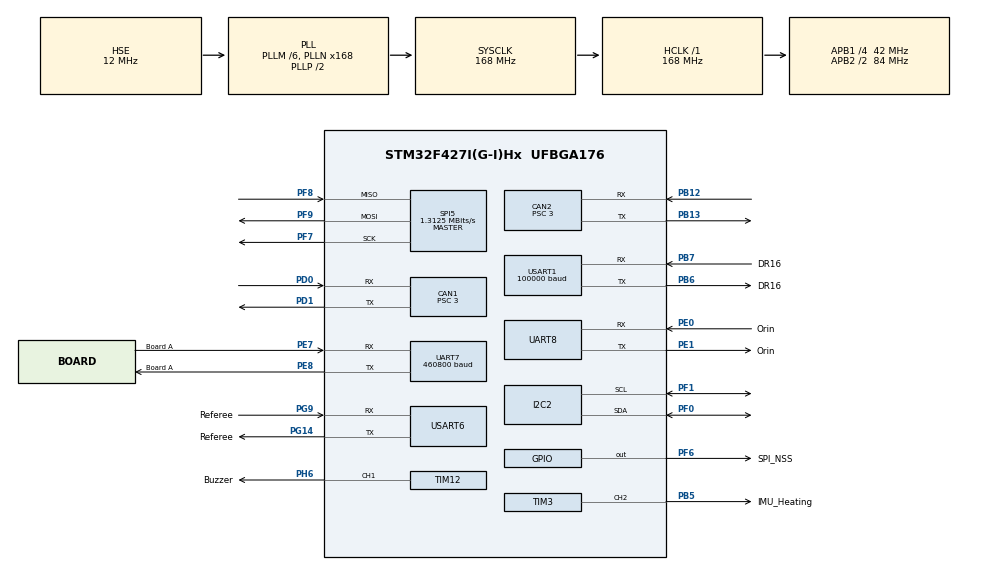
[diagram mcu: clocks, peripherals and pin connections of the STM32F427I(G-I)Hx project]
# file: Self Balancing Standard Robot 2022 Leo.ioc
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CAN1.ABOM=ENABLE
CAN1.AWUM=ENABLE
CAN1.BS1=CAN_BS1_10TQ
CAN1.BS2=CAN_BS2_3TQ
CAN1.CalculateBaudRate=1000000
CAN1.CalculateTimeBit=1000
CAN1.CalculateTimeQuantum=71.42857142857143
CAN1.NART=ENABLE
CAN1.Prescaler=3
CAN2.ABOM=ENABLE
CAN2.AWUM=ENABLE
CAN2.BS1=CAN_BS1_10TQ
CAN2.BS2=CAN_BS2_3TQ
CAN2.CalculateBaudRate=1000000
CAN2.CalculateTimeBit=1000
CAN2.CalculateTimeQuantum=71.42857142857143
CAN2.NART=ENABLE
CAN2.Prescaler=3
CAN2.RFLM=ENABLE
Dma.Request0=USART1_RX
Dma.Request1=UART7_RX
Dma.Request2=UART8_RX
Dma.Request3=USART6_RX
Dma.Request4=UART8_TX
Dma.UART7_RX.1.Direction=DMA_PERIPH_TO_MEMORY
Dma.UART7_RX.1.FIFOMode=DMA_FIFOMODE_DISABLE
Dma.UART7_RX.1.Instance=DMA1_Stream3
Dma.UART7_RX.1.MemDataAlignment=DMA_MDATAALIGN_BYTE
Dma.UART7_RX.1.MemInc=DMA_MINC_ENABLE
Dma.UART7_RX.1.Mode=DMA_CIRCULAR
Dma.UART7_RX.1.PeriphDataAlignment=DMA_PDATAALIGN_BYTE
Dma.UART7_RX.1.PeriphInc=DMA_PINC_DISABLE
Dma.UART7_RX.1.Priority=DMA_PRIORITY_HIGH
Dma.UART8_RX.2.Direction=DMA_PERIPH_TO_MEMORY
Dma.UART8_RX.2.FIFOMode=DMA_FIFOMODE_DISABLE
Dma.UART8_RX.2.Instance=DMA1_Stream6
Dma.UART8_RX.2.MemDataAlignment=DMA_MDATAALIGN_BYTE
Dma.UART8_RX.2.MemInc=DMA_MINC_ENABLE
Dma.UART8_RX.2.Mode=DMA_CIRCULAR
Dma.UART8_RX.2.PeriphDataAlignment=DMA_PDATAALIGN_BYTE
Dma.UART8_RX.2.PeriphInc=DMA_PINC_DISABLE
Dma.UART8_RX.2.Priority=DMA_PRIORITY_HIGH
Dma.UART8_TX.4.Direction=DMA_MEMORY_TO_PERIPH
Dma.UART8_TX.4.FIFOMode=DMA_FIFOMODE_DISABLE
Dma.UART8_TX.4.Instance=DMA1_Stream0
Dma.UART8_TX.4.MemDataAlignment=DMA_MDATAALIGN_BYTE
Dma.UART8_TX.4.MemInc=DMA_MINC_ENABLE
Dma.UART8_TX.4.Mode=DMA_CIRCULAR
Dma.UART8_TX.4.PeriphDataAlignment=DMA_PDATAALIGN_BYTE
Dma.UART8_TX.4.PeriphInc=DMA_PINC_DISABLE
Dma.UART8_TX.4.Priority=DMA_PRIORITY_HIGH
Dma.USART1_RX.0.Direction=DMA_PERIPH_TO_MEMORY
Dma.USART1_RX.0.FIFOMode=DMA_FIFOMODE_DISABLE
Dma.USART1_RX.0.Instance=DMA2_Stream2
Dma.USART1_RX.0.MemDataAlignment=DMA_MDATAALIGN_BYTE
Dma.USART1_RX.0.MemInc=DMA_MINC_ENABLE
Dma.USART1_RX.0.Mode=DMA_CIRCULAR
Dma.USART1_RX.0.PeriphDataAlignment=DMA_PDATAALIGN_BYTE
Dma.USART1_RX.0.PeriphInc=DMA_PINC_DISABLE
Dma.USART1_RX.0.Priority=DMA_PRIORITY_LOW
Dma.USART6_RX.3.Direction=DMA_PERIPH_TO_MEMORY
Dma.USART6_RX.3.FIFOMode=DMA_FIFOMODE_DISABLE
Dma.USART6_RX.3.Instance=DMA2_Stream1
Dma.USART6_RX.3.MemDataAlignment=DMA_MDATAALIGN_BYTE
Dma.USART6_RX.3.MemInc=DMA_MINC_ENABLE
Dma.USART6_RX.3.Mode=DMA_CIRCULAR
Dma.USART6_RX.3.PeriphDataAlignment=DMA_PDATAALIGN_BYTE
Dma.USART6_RX.3.PeriphInc=DMA_PINC_DISABLE
Dma.USART6_RX.3.Priority=DMA_PRIORITY_LOW
FREERTOS.INCLUDE_vTaskDelayUntil=1
FREERTOS.Queues01=CAN_Send,32,CAN_Send_Data_t,0,Dynamic,NULL,NULL;CAN1_Receive,32,CAN_Export_Data_t,0,Dynamic,NULL,NULL;CAN2_Receive,32,CAN_Export_Data_t,0,Dynamic,NULL,NULL
FREERTOS.Tasks01=Task_IMU,0,400,IMU_Tasks,Default,NULL,Dynamic,NULL,NULL;Initialization,2,256,General_Initialization,Default,NULL,Dynamic,NULL,NULL;Task_CAN_Send,2,256,CAN_Send_All,Default,NULL,Dynamic,NULL,NULL;Task_CAN1_Recei,2,256,CAN1_Rec,Default,NULL,Dynamic,NULL,NULL;Task_CAN2_Recei,2,256,CAN2_Rec,Default,NULL,Dynamic,NULL,NULL;Robot_Control,3,1000,Robot_Control_All,Default,NULL,Dynamic,NULL,NULL;Task_UI,0,256,UI_Draw,Default,NULL,Dynamic,NULL,NULL
FREERTOS.configTOTAL_HEAP_SIZE=20000
I2C2.Analog_Filter=I2C_ANALOGFILTER_DISABLE
Mcu.Family=STM32F4
Mcu.Name=STM32F427I(G-I)Hx
Mcu.Package=UFBGA176
NVIC.CAN1_RX0_IRQn=true\:5\:0\:false\:false\:true\:true\:true\:false\:true
NVIC.CAN2_RX0_IRQn=true\:6\:0\:true\:false\:true\:true\:true\:false\:true
NVIC.DMA1_Stream0_IRQn=true\:5\:0\:false\:false\:true\:true\:false\:true\:true
NVIC.DMA1_Stream3_IRQn=true\:5\:0\:false\:false\:true\:true\:false\:false\:true
NVIC.DMA1_Stream6_IRQn=true\:5\:0\:false\:false\:true\:true\:false\:true\:true
NVIC.DMA2_Stream1_IRQn=true\:5\:0\:false\:false\:true\:true\:false\:false\:true
NVIC.DMA2_Stream2_IRQn=true\:5\:0\:false\:false\:true\:false\:false\:false\:true
NVIC.PriorityGroup=NVIC_PRIORITYGROUP_4
NVIC.TIM6_DAC_IRQn=true\:15\:0\:false\:false\:true\:false\:false\:true\:true
NVIC.TimeBase=TIM6_DAC_IRQn
NVIC.TimeBaseIP=TIM6
NVIC.UART7_IRQn=true\:5\:0\:false\:false\:true\:true\:true\:false\:true
NVIC.USART1_IRQn=true\:5\:0\:false\:false\:true\:true\:true\:false\:true
NVIC.USART6_IRQn=true\:5\:0\:false\:false\:true\:true\:true\:false\:true
PA13.Mode=Serial_Wire
PA13.Signal=SYS_JTMS-SWDIO
PA14.Mode=Serial_Wire
PA14.Signal=SYS_JTCK-SWCLK
PB12.Mode=CAN_Activate
PB12.Signal=CAN2_RX
PB13.Mode=CAN_Activate
PB13.Signal=CAN2_TX
PB5.GPIO_Label=IMU_Heating
PB5.Signal=S_TIM3_CH2
PB6.GPIO_Label=DR16
PB6.GPIO_PuPd=GPIO_PULLUP
PB6.Mode=Asynchronous
PB6.Signal=USART1_TX
PB7.GPIO_Label=DR16
PB7.GPIO_PuPd=GPIO_PULLUP
PB7.Mode=Asynchronous
PB7.Signal=USART1_RX
PD0.GPIO_PuPd=GPIO_NOPULL
PD0.Mode=CAN_Activate
PD0.Signal=CAN1_RX
PD1.Mode=CAN_Activate
PD1.Signal=CAN1_TX
PE0.GPIO_Label=Orin
PE0.GPIO_PuPd=GPIO_NOPULL
PE0.Mode=Asynchronous
PE0.Signal=UART8_RX
PE1.GPIO_Label=Orin
PE1.GPIO_PuPd=GPIO_NOPULL
PE1.Mode=Asynchronous
PE1.Signal=UART8_TX
PE7.GPIO_Label=Board A
PE7.GPIO_PuPd=GPIO_PULLUP
PE7.Mode=Asynchronous
PE7.Signal=UART7_RX
PE8.GPIO_Label=Board A
PE8.GPIO_PuPd=GPIO_PULLUP
PE8.Mode=Asynchronous
PE8.Signal=UART7_TX
PF0.GPIO_Pu=GPIO_PULLUP
PF0.Mode=I2C
PF0.Signal=I2C2_SDA
PF1.GPIO_Pu=GPIO_PULLUP
PF1.Mode=I2C
PF1.Signal=I2C2_SCL
PF6.GPIO_Label=SPI_NSS
PF6.Signal=GPIO_Output
PF7.Mode=Full_Duplex_Master
PF7.Signal=SPI5_SCK
PF8.Mode=Full_Duplex_Master
PF8.Signal=SPI5_MISO
PF9.Mode=Full_Duplex_Master
PF9.Signal=SPI5_MOSI
PG14.GPIO_Label=Referee
PG14.Mode=Asynchronous
PG14.Signal=USART6_TX
PG9.GPIO_Label=Referee
PG9.Mode=Asynchronous
PG9.Signal=USART6_RX
PH0/OSC_IN.Mode=HSE-External-Oscillator
PH0/OSC_IN.Signal=RCC_OSC_IN
PH1/OSC_OUT.Mode=HSE-External-Oscillator
PH1/OSC_OUT.Signal=RCC_OSC_OUT
PH6.GPIO_Label=Buzzer
PH6.Signal=S_TIM12_CH1
ProjectManager.HeapSize=0x200
ProjectManager.StackSize=0x400
ProjectManager.TargetToolchain=MDK-ARM V5.32
RCC.48MHZClocksFreq_Value=84000000
RCC.AHBFreq_Value=168000000
RCC.APB1CLKDivider=RCC_HCLK_DIV4
RCC.APB1Freq_Value=42000000
RCC.APB1TimFreq_Value=84000000
RCC.APB2CLKDivider=RCC_HCLK_DIV2
RCC.APB2Freq_Value=84000000
RCC.APB2TimFreq_Value=168000000
RCC.CortexFreq_Value=168000000
RCC.HCLKFreq_Value=168000000
RCC.HSE_VALUE=12000000
RCC.HSI_VALUE=16000000
RCC.LSE_VALUE=32768
RCC.PLLM=6
RCC.PLLN=168
RCC.PLLSourceVirtual=RCC_PLLSOURCE_HSE
RCC.SYSCLKFreq_VALUE=168000000
RCC.SYSCLKSource=RCC_SYSCLKSOURCE_PLLCLK
RCC.VCOOutputFreq_Value=336000000
SH.S_TIM12_CH1.0=TIM12_CH1,PWM Generation1 CH1
SH.S_TIM3_CH2.0=TIM3_CH2,PWM Generation2 CH2
SPI5.BaudRatePrescaler=SPI_BAUDRATEPRESCALER_64
SPI5.CalculateBaudRate=1.3125 MBits/s
SPI5.Direction=SPI_DIRECTION_2LINES
SPI5.Mode=SPI_MODE_MASTER
SPI5.VirtualType=VM_MASTER
TIM12.Channel-PWM\ Generation1\ CH1=TIM_CHANNEL_1
TIM12.Period=0
TIM12.Prescaler=42
TIM3.Channel-PWM\ Generation2\ CH2=TIM_CHANNEL_2
TIM3.Period=5000-1
TIM3.Prescaler=0
UART7.BaudRate=460800
UART7.Parity=PARITY_NONE
UART7.VirtualMode=Asynchronous
UART8.VirtualMode=Asynchronous
USART1.BaudRate=100000
USART1.VirtualMode=VM_ASYNC
USART6.VirtualMode=VM_ASYNC
VP_FREERTOS_VS_CMSIS_V1.Mode=CMSIS_V1
VP_SYS_VS_tim6.Mode=TIM6
VP_TIM12_VS_ClockSourceINT.Mode=Internal
VP_TIM3_VS_ClockSourceINT.Mode=Internal
board=custom

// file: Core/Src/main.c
/* USER CODE BEGIN Header */
/**
  ******************************************************************************
  * @file           : main.c
  * @brief          : Main program body
  ******************************************************************************
  * @attention
  *
  * Copyright (c) 2022 STMicroelectronics.
  * All rights reserved.
  *
  * This software is licensed under terms that can be found in the LICENSE file
  * in the root directory of this software component.
  * If no LICENSE file comes with this software, it is provided AS-IS.
  *
  ******************************************************************************
  */
/* USER CODE END Header */
#include "main.h"
#include "cmsis_os.h"
#include "can.h"
#include "dma.h"
#include "i2c.h"
#include "spi.h"
#include "tim.h"
#include "usart.h"
#include "gpio.h"

void SystemClock_Config(void);
void MX_FREERTOS_Init(void);

int main(void)
{

  /* MCU Configuration--------------------------------------------------------*/

  /* Reset of all peripherals, Initializes the Flash interface and the Systick. */
  HAL_Init();

  /* Configure the system clock */
  SystemClock_Config();

  /* Initialize all configured peripherals */
  MX_GPIO_Init();
  MX_DMA_Init();
  MX_CAN1_Init();
  MX_I2C2_Init();
  MX_SPI5_Init();
  MX_TIM3_Init();
  MX_TIM12_Init();
  MX_USART1_UART_Init();
  MX_UART7_Init();
  MX_CAN2_Init();
  MX_UART8_Init();
  MX_USART6_UART_Init();

  /* Call init function for freertos objects (in freertos.c) */
  MX_FREERTOS_Init();

  /* Start scheduler */
  osKernelStart();

  /* We should never get here as control is now taken by the scheduler */
  /* Infinite loop */
  while (1)
  {

  }
}

void SystemClock_Config(void)
{
  RCC_OscInitTypeDef RCC_OscInitStruct = {0};
  RCC_ClkInitTypeDef RCC_ClkInitStruct = {0};

  /** Configure the main internal regulator output voltage
  */
  __HAL_RCC_PWR_CLK_ENABLE();
  __HAL_PWR_VOLTAGESCALING_CONFIG(PWR_REGULATOR_VOLTAGE_SCALE1);

  /** Initializes the RCC Oscillators according to the specified parameters
  * in the RCC_OscInitTypeDef structure.
  */
  RCC_OscInitStruct.OscillatorType = RCC_OSCILLATORTYPE_HSE;
  RCC_OscInitStruct.HSEState = RCC_HSE_ON;
  RCC_OscInitStruct.PLL.PLLState = RCC_PLL_ON;
  RCC_OscInitStruct.PLL.PLLSource = RCC_PLLSOURCE_HSE;
  RCC_OscInitStruct.PLL.PLLM = 6;
  RCC_OscInitStruct.PLL.PLLN = 168;
  RCC_OscInitStruct.PLL.PLLP = RCC_PLLP_DIV2;
  RCC_OscInitStruct.PLL.PLLQ = 4;
  if (HAL_RCC_OscConfig(&RCC_OscInitStruct) != HAL_OK)
  {
    Error_Handler();
  }

  /** Initializes the CPU, AHB and APB buses clocks
  */
  RCC_ClkInitStruct.ClockType = RCC_CLOCKTYPE_HCLK|RCC_CLOCKTYPE_SYSCLK
                              |RCC_CLOCKTYPE_PCLK1|RCC_CLOCKTYPE_PCLK2;
  RCC_ClkInitStruct.SYSCLKSource = RCC_SYSCLKSOURCE_PLLCLK;
  RCC_ClkInitStruct.AHBCLKDivider = RCC_SYSCLK_DIV1;
  RCC_ClkInitStruct.APB1CLKDivider = RCC_HCLK_DIV4;
  RCC_ClkInitStruct.APB2CLKDivider = RCC_HCLK_DIV2;

  if (HAL_RCC_ClockConfig(&RCC_ClkInitStruct, FLASH_LATENCY_5) != HAL_OK)
  {
    Error_Handler();
  }
}

void HAL_TIM_PeriodElapsedCallback(TIM_HandleTypeDef *htim)
{
  if (htim->Instance == TIM6) {
    HAL_IncTick();
  }
}

void Error_Handler(void)
{
  __disable_irq();
  while (1)
  {
  }
}

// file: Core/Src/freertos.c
/* USER CODE BEGIN Header */
/**
  ******************************************************************************
  * File Name          : freertos.c
  * Description        : Code for freertos applications
  ******************************************************************************
  * @attention
  *
  * Copyright (c) 2022 STMicroelectronics.
  * All rights reserved.
  *
  * This software is licensed under terms that can be found in the LICENSE file
  * in the root directory of this software component.
  * If no LICENSE file comes with this software, it is provided AS-IS.
  *
  ******************************************************************************
  */
/* USER CODE END Header */

#include "FreeRTOS.h"
#include "task.h"
#include "main.h"
#include "cmsis_os.h"

/* USER CODE BEGIN Includes */
#include "Board_A_IMU.h"
#include "IMU_Temp_Control.h"
#include "DR16_Remote.h"
#include "M3508_Motor.h"
#include "MF9025_Motor.h"
#include "Robot_Control.h"
#include "MPU6050_IMU.h"
#include "Control_Board_A.h"
#include "Fusion.h"
#include "Buzzer.h"
#include "Referee_System.h"
#include "Jetson_Tx2.h"
#include "User_Interface.h"
/* USER CODE END Includes */

osThreadId Task_IMUHandle;
osThreadId InitializationHandle;
osThreadId Task_CAN_SendHandle;
osThreadId Task_CAN1_ReceiHandle;
osThreadId Task_CAN2_ReceiHandle;
osThreadId Robot_ControlHandle;
osThreadId Task_UIHandle;
osMessageQId CAN_SendHandle;
osMessageQId CAN1_ReceiveHandle;
osMessageQId CAN2_ReceiveHandle;

void IMU_Tasks(void const * argument);
void General_Initialization(void const * argument);
void CAN_Send_All(void const * argument);
void CAN1_Rec(void const * argument);
void CAN2_Rec(void const * argument);
void Robot_Control_All(void const * argument);
void UI_Draw(void const * argument);

void MX_FREERTOS_Init(void); /* (MISRA C 2004 rule 8.1) */

/* GetIdleTaskMemory prototype (linked to static allocation support) */
void vApplicationGetIdleTaskMemory( StaticTask_t **ppxIdleTaskTCBBuffer, StackType_t **ppxIdleTaskStackBuffer, uint32_t *pulIdleTaskStackSize );

/* USER CODE BEGIN GET_IDLE_TASK_MEMORY */
static StaticTask_t xIdleTaskTCBBuffer;
static StackType_t xIdleStack[configMINIMAL_STACK_SIZE];

void vApplicationGetIdleTaskMemory( StaticTask_t **ppxIdleTaskTCBBuffer, StackType_t **ppxIdleTaskStackBuffer, uint32_t *pulIdleTaskStackSize )
{
  *ppxIdleTaskTCBBuffer = &xIdleTaskTCBBuffer;
  *ppxIdleTaskStackBuffer = &xIdleStack[0];
  *pulIdleTaskStackSize = configMINIMAL_STACK_SIZE;
  /* place for user code */
}
/* USER CODE END GET_IDLE_TASK_MEMORY */

void MX_FREERTOS_Init(void) {

  /* Create the queue(s) */
  /* definition and creation of CAN_Send */
  osMessageQDef(CAN_Send, 32, CAN_Send_Data_t);
  CAN_SendHandle = osMessageCreate(osMessageQ(CAN_Send), NULL);

  /* definition and creation of CAN1_Receive */
  osMessageQDef(CAN1_Receive, 32, CAN_Export_Data_t);
  CAN1_ReceiveHandle = osMessageCreate(osMessageQ(CAN1_Receive), NULL);

  /* definition and creation of CAN2_Receive */
  osMessageQDef(CAN2_Receive, 32, CAN_Export_Data_t);
  CAN2_ReceiveHandle = osMessageCreate(osMessageQ(CAN2_Receive), NULL);

  /* Create the thread(s) */
  /* definition and creation of Task_IMU */
  osThreadDef(Task_IMU, IMU_Tasks, osPriorityNormal, 0, 400);
  Task_IMUHandle = osThreadCreate(osThread(Task_IMU), NULL);

  /* definition and creation of Initialization */
  osThreadDef(Initialization, General_Initialization, osPriorityHigh, 0, 256);
  InitializationHandle = osThreadCreate(osThread(Initialization), NULL);

  /* definition and creation of Task_CAN_Send */
  osThreadDef(Task_CAN_Send, CAN_Send_All, osPriorityHigh, 0, 256);
  Task_CAN_SendHandle = osThreadCreate(osThread(Task_CAN_Send), NULL);

  /* definition and creation of Task_CAN1_Recei */
  osThreadDef(Task_CAN1_Recei, CAN1_Rec, osPriorityHigh, 0, 256);
  Task_CAN1_ReceiHandle = osThreadCreate(osThread(Task_CAN1_Recei), NULL);

  /* definition and creation of Task_CAN2_Recei */
  osThreadDef(Task_CAN2_Recei, CAN2_Rec, osPriorityHigh, 0, 256);
  Task_CAN2_ReceiHandle = osThreadCreate(osThread(Task_CAN2_Recei), NULL);

  /* definition and creation of Robot_Control */
  osThreadDef(Robot_Control, Robot_Control_All, osPriorityRealtime, 0, 1000);
  Robot_ControlHandle = osThreadCreate(osThread(Robot_Control), NULL);

  /* definition and creation of Task_UI */
  osThreadDef(Task_UI, UI_Draw, osPriorityNormal, 0, 256);
  Task_UIHandle = osThreadCreate(osThread(Task_UI), NULL);

}

void IMU_Tasks(void const * argument)
{
  /* USER CODE BEGIN IMU_Tasks */
	portTickType xLastWakeTime;
  xLastWakeTime = xTaskGetTickCount();

  const TickType_t TimeIncrement = pdMS_TO_TICKS(1);
  /* Infinite loop */
  for(;;)
  {
		Board_A_IMU_Func.Board_A_IMU_Read_Data(&Board_A_IMU);
		Board_A_IMU_Func.Board_A_IMU_Calc_Angle(&Board_A_IMU);
		//Board_A_IMU_Func.Board_A_IMU_Calibrate(&Board_A_IMU);
		IMU_Temp_Control_Func.Board_A_IMU_Temp_Control();

		Control_Board_A_Func.Board_A_Send_Data();
		vTaskDelayUntil(&xLastWakeTime, TimeIncrement);
  }
  /* USER CODE END IMU_Tasks */
}

void General_Initialization(void const * argument)
{
  /* USER CODE BEGIN General_Initialization */
  /* Infinite loop */
	Buzzer_Func.Buzzer_Init();
	IMU_Temp_Control_Func.Board_A_IMU_Temp_Control_Init();
	Board_A_IMU_Func.Board_A_IMU_Init();
	FusionAhrsInitialise(&Board_A_IMU_AHRS);
	DR16_Func.DR16_USART_Receive_DMA(&huart1);
	Control_Board_A_Func.Board_A_USART_Receive_DMA(&huart7);
	Referee_System_Func.Referee_UART_Receive_Interrupt(&huart6,Referee_System.Buffer,sizeof(Referee_System.Buffer));
	UI_Initialization();
	CAN_Func.CAN_IT_Init(&hcan1, CAN1_Type);
  CAN_Func.CAN_IT_Init(&hcan2, CAN2_Type);
	Tx2_Func.Jetson_Tx2_Initialization();
	Gimbal_Func.Gimbal_Init();
	Shooting_Func.Shooting_Init();
	vTaskDelete(NULL);

  /* USER CODE END General_Initialization */
}

void CAN_Send_All(void const * argument)
{
  /* USER CODE BEGIN CAN_Send_All */
	CAN_Send_Data_t CAN_Send_Data;
  /* Infinite loop */
  for(;;)
  {
    xQueueReceive(CAN_SendHandle, &CAN_Send_Data, portMAX_DELAY);
    HAL_CAN_AddTxMessage(CAN_Send_Data.Canx, &CAN_Send_Data.CAN_TxHeader, CAN_Send_Data.CANx_Send_RxMessage, (uint32_t *)CAN_TX_MAILBOX0);
  }
  /* USER CODE END CAN_Send_All */
}

void CAN1_Rec(void const * argument)
{
  /* USER CODE BEGIN CAN1_Rec */
	CAN_Export_Data_t CAN_Export_Data;
	uint32_t ID;
  /* Infinite loop */
  for(;;)
  {
    xQueueReceive(CAN1_ReceiveHandle, &CAN_Export_Data, portMAX_DELAY);
		ID = CAN_Export_Data.CAN_RxHeader.StdId;
		if(ID == SUPERCAP_ID)
			Super_Capacitor_Func.Super_Capacitor_Get_Data(CAN_Export_Data);
		else if(ID == (MF9025_DEVICE_ID + MF9025_CHASSIS_LEFT_ID) || ID == (MF9025_DEVICE_ID + MF9025_CHASSIS_RIGHT_ID))
			MF9025_Func.MF9025_Chassis_Get_Data(CAN_Export_Data);
		else if(ID == GM6020_YAW_ID)
			GM6020_Func.GM6020_Yaw_Get_Data(CAN_Export_Data);
		else if(ID == GM6020_PITCH_ID)
			GM6020_Func.GM6020_Pitch_Get_Data(CAN_Export_Data);

		Monitor_CAN1.Info_Update_Frame++;
  }
  /* USER CODE END CAN1_Rec */
}

void CAN2_Rec(void const * argument)
{
  /* USER CODE BEGIN CAN2_Rec */
	CAN_Export_Data_t CAN_Export_Data;
	uint32_t ID;
	//uint32_t ID;
  /* Infinite loop */
  for(;;)
  {
    xQueueReceive(CAN2_ReceiveHandle, &CAN_Export_Data, portMAX_DELAY);
		ID = CAN_Export_Data.CAN_RxHeader.StdId;
		if(ID == M2006_TRIGGER_ID)
			M2006_Func.M2006_Trigger_Get_Data(CAN_Export_Data);
		else if(ID == M3508_FRIC_WHEEL_LEFT_ID || ID == M3508_FRIC_WHEEL_RIGHT_ID)
			M3508_Func.M3508_Fric_Wheel_Get_Data(CAN_Export_Data);

		Monitor_CAN2.Info_Update_Frame++;
  }
  /* USER CODE END CAN2_Rec */
}

void Robot_Control_All(void const * argument)
{
  /* USER CODE BEGIN Robot_Control_All */
	portTickType xLastWakeTime;
  xLastWakeTime = xTaskGetTickCount();
  const TickType_t TimeIncrement = pdMS_TO_TICKS(2);
  /* Infinite loop */
  for(;;)
  {
    Robot_Control_Func.Robot_Control_Start();
		vTaskDelayUntil(&xLastWakeTime, TimeIncrement);
  }
  /* USER CODE END Robot_Control_All */
}

void UI_Draw(void const * argument)
{
  /* USER CODE BEGIN UI_Draw */
  portTickType xLastWakeTime;
  xLastWakeTime = xTaskGetTickCount();
  const TickType_t TimeIncrement = pdMS_TO_TICKS(5);
  /* Infinite loop */
  for(;;)
  {
		if(Referee_Robot_State.ID == 3)
		{
			UI.Pilot_ID = UI_Data_CilentID_RStandard1;
			UI.Robot_ID = UI_Data_RobotID_RStandard1;
		}
		else if(Referee_Robot_State.ID == 103)
		{
			UI.Pilot_ID = UI_Data_CilentID_BStandard1;
			UI.Robot_ID = UI_Data_RobotID_BStandard1;
		}
		if(UI.Initialized_Flag == 0)
		{
			UI_AimingSystem();
			UI_GuidingSystem();
			UI_TextSystem_Init();
			UI.Initialized_Flag = 1;
		}
		osDelay (1000);
//		memcpy (TextSystem.Text, "A_Test", 6);
//		TextSystem.TextNumber = 6;
//		UI_AutoText_Update();
		switch(State_Machine.Mode)
		{
			case(Follow_Gimbal):
				memcpy (TextSystem.Text, "FLGB", 4);
				break;
			case(Spin_Top):
				memcpy (TextSystem.Text, "SPIN", 4);
				break;
			default:
				memcpy (TextSystem.Text, "FLGB", 4);
				break;
		}
		TextSystem.TextNumber = 4;
		UI_StateText_Update();

		if(Shooting.Fric_Wheel.Turned_On)
		{
			memcpy (TextSystem.Text, "FRIC ON", 7);
			TextSystem.TextNumber = 7;
			UI_AutoText_Update();
		}
		else if(Shooting.Fric_Wheel.Turned_On == 0)
		{
			memcpy (TextSystem.Text, "FRIC OFF", 8);
			TextSystem.TextNumber = 8;
			UI_AutoText_Update();
		}

//		memcpy (TextSystem.Text, "A_Test2", 7);
//		TextSystem.TextNumber = 7;
//		UI_AutoText_Update();
//
//		memcpy (TextSystem.Text, "C_Test2", 7);
//		TextSystem.TextNumber = 7;
//		UI_SuperCapText_Update();
//
//		memcpy (TextSystem.Text, "S_Test2", 7);
//		TextSystem.TextNumber = 7;
//		UI_StateText_Update();

		vTaskDelayUntil(&xLastWakeTime, TimeIncrement);
  }
  /* USER CODE END UI_Draw */
}
